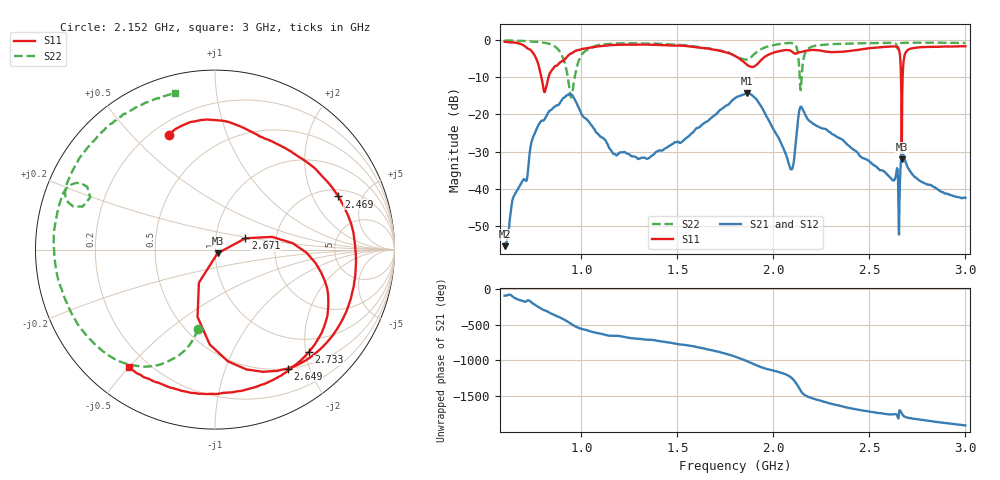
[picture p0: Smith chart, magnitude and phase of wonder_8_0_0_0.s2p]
#  HZ  S  RI  R  50.00
! Rohde & Schwarz ZVB8 2Ports - Version 2.81 - 1145.1010k08 SN: 100113
! Date: 2016-05-12 03:15:55
! Measurements: S11 S21 S12 S22
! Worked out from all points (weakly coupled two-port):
!   1000 points, 600 MHz to 3 GHz, reference 50 ohm
!   highest |S21| = -14.38 dB at 1.864 GHz (marker M1); lowest = -55.3 dB at 600 MHz (marker M2)
!   lowest |S11| = -32.0 dB at 2.668 GHz (marker M3), VSWR 1.05, Z = 51.4 - j2.13 ohm
!   |S11| at or under -10 dB: 790.9 MHz to 829.3 MHz (38.41 MHz wide, 4.74 % of centre); 2.664429 GHz to 2.673151 GHz (8.723 MHz wide, 0.327 % of centre)
!   |S22| runs from -15.5 to -0.2 dB; largest |S21 - S12| = 0.0016
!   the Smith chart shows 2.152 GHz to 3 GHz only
!   S11 on the Smith chart (normalised r, x): 2.152 GHz: 0.26, +0.64; 2.469 GHz: 2.37, +3.19; 2.649 GHz: 0.50, -1.67; 2.671 GHz: 1.39, +0.18; 2.733 GHz: 0.72, -2.06; 3 GHz: 0.13, -0.50
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6e8  -0.8551 0.38  -0.000182 -0.00171  -0.000259 -0.00173  -0.9566 0.1836
7.705706e8  0.1234 0.4957  -0.0289 0.0607  -0.0291 0.0608  -0.4653 0.8037
8.09009e8  -0.0386 0.1942  0.0434 0.0749  0.0435 0.075  -0.2433 0.8728
9.051051e8  -0.1747 0.4922  0.0731 -0.1474  0.0731 -0.1472  0.4223 0.3689
9.507508e8  -0.0713 0.6542  -0.1332 -0.1238  -0.1333 -0.1239  -0.0563 -0.1704
1.001201e9  0.1728 0.7262  -0.0937 0.0332  -0.0937 0.0331  -0.5287 0.336
1.142943e9  0.7615 0.3544  0.0145 0.0333  0.0146 0.0335  0.17 0.8575
1.4e9  0.3551 -0.7708  0.032 -0.00405  0.032 -0.00406  0.88 0.0647
1.621021e9  -0.5465 -0.554  -0.0164 -0.0681  -0.0164 -0.0682  0.4844 -0.6227
1.801201e9  -0.5976 0.0718  -0.1127 0.1215  -0.1128 0.1218  0.0216 -0.6027
1.863664e9  -0.4394 0.1191  0.0695 0.178  0.0696 0.1781  0.0555 -0.5358
2.091892e9  -0.3757 0.5974  -0.0167 -0.00735  -0.0167 -0.00738  -0.6329 -0.6398
2.13033e9  -0.3079 0.6015  0.0276 0.0889  0.0277 0.089  -0.5661 -0.062
2.151952e9  -0.2583 0.639  0.1124 -0.0352  0.112 -0.0354  -0.0946 -0.4412
2.2e9  -0.0924 0.7194  0.00524 -0.0773  0.00512 -0.0773  -0.4892 -0.6371
2.469069e9  0.6869 0.2959  -0.00509 0.0252  -0.00516 0.0252  -0.8929 -0.0556
2.601201e9  0.7391 -0.325  0.00986 0.0111  0.00976 0.011  -0.8647 0.2581
2.649249e9  0.4045 -0.6627  0.0126 -0.000706  0.0125 -0.000704  -0.7376 0.2396
2.668468e9  0.0142 -0.0207  0.0139 0.0268  0.0137 0.0267  -0.8301 0.351
2.670871e9  0.1695 0.0631  0.0197 0.0241  0.0195 0.0241  -0.8277 0.3596
2.733333e9  0.5216 -0.5721  0.0142 -0.0035  0.0142 -0.00346  -0.7532 0.5126
3e9  -0.4818 -0.6551  -0.00219 -0.00731  -0.00214 -0.0073  -0.2241 0.8711
